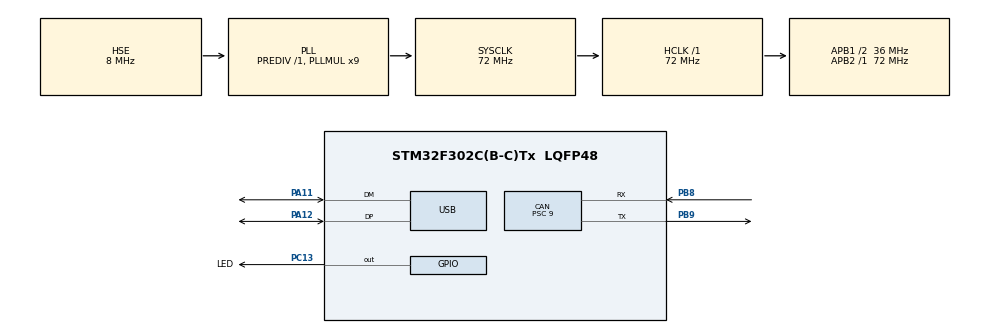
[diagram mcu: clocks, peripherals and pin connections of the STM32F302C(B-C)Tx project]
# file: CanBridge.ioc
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Mcu.Family=STM32F3
PC15-OSC32_OUT.Mode=LSE-External-Oscillator
USB_DEVICE.CLASS_NAME_FS=CDC
RCC.CortexFreq_Value=72000000
USB_DEVICE.VirtualModeFS=Cdc_FS
CAN.CalculateBaudRate=500000
PC13.Signal=GPIO_Output
NVIC.USB_LP_CAN_RX0_IRQn=true\:2\:0\:true\:false\:true\:true\:true
RCC.SYSCLKSourceVirtual=RCC_SYSCLKSOURCE_PLLCLK
PA11.Mode=Device
PC13.GPIO_Label=LED
RCC.APB1CLKDivider=RCC_HCLK_DIV2
PC14-OSC32_IN.Signal=RCC_OSC32_IN
CAN.CalculateTimeBit=2000.00
ProjectManager.StackSize=0x400
PA13.Signal=SYS_JTMS-SWDIO
PA12.Signal=USB_DP
CAN.BS2=CAN_BS2_2TQ
CAN.BS1=CAN_BS1_5TQ
CAN.Prescaler=9
ProjectManager.TargetToolchain=STM32CubeIDE
PC13.GPIO_ModeDefaultOutputPP=GPIO_MODE_OUTPUT_OD
RCC.HCLKFreq_Value=72000000
VP_USB_DEVICE_VS_USB_DEVICE_CDC_FS.Mode=CDC_FS
PB9.Mode=CAN_Activate
RCC.APB2TimFreq_Value=72000000
RCC.USBFreq_Value=48000000
PC15-OSC32_OUT.Signal=RCC_OSC32_OUT
RCC.AHBFreq_Value=72000000
PF0-OSC_IN.Mode=HSE-External-Oscillator
RCC.HSE_VALUE=8000000
board=custom
RCC.PLLMUL=RCC_PLL_MUL9
RCC.APB2Freq_Value=72000000
PC14-OSC32_IN.Mode=LSE-External-Oscillator
RCC.PRESCALERUSB=RCC_USBCLKSOURCE_PLL_DIV1_5
PA14.Mode=Serial_Wire
PA13.Mode=Serial_Wire
Mcu.Name=STM32F302C(B-C)Tx
CAN.CalculateTimeQuantum=250.0
RCC.SYSCLKFreq_VALUE=72000000
Mcu.Package=LQFP48
PB9.Signal=CAN_TX
PA12.Mode=Device
PA11.Signal=USB_DM
PA14.Signal=SYS_JTCK-SWCLK
ProjectManager.HeapSize=0x400
NVIC.USB_LP_IRQn=true\:0\:0\:false\:false\:true\:false\:true
RCC.HSI_VALUE=8000000
NVIC.PriorityGroup=NVIC_PRIORITYGROUP_2
PB8.Mode=CAN_Activate
RCC.APB1TimFreq_Value=72000000
PB8.Signal=CAN_RX
PF0-OSC_IN.Signal=RCC_OSC_IN
PF1-OSC_OUT.Mode=HSE-External-Oscillator
RCC.APB1Freq_Value=36000000
USB_DEVICE.VirtualMode=Cdc
PF1-OSC_OUT.Signal=RCC_OSC_OUT

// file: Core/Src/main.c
/* USER CODE BEGIN Header */
/**
  ******************************************************************************
  * @file           : main.c
  * @brief          : Main program body
  ******************************************************************************
  * @attention
  *
  * <h2><center>&copy; Copyright (c) 2021 STMicroelectronics.
  * All rights reserved.</center></h2>
  *
  * This software component is licensed by ST under Ultimate Liberty license
  * SLA0044, the "License"; You may not use this file except in compliance with
  * the License. You may obtain a copy of the License at:
  *                             www.st.com/SLA0044
  *
  ******************************************************************************
  */
/* USER CODE END Header */
#include "main.h"
#include "usb_device.h"

/* USER CODE BEGIN Includes */
#include "usbd_cdc_if.h"
#include "canbridge.h"
/* USER CODE END Includes */

/* USER CODE BEGIN PTD */

typedef struct
{
	CAN_RxHeaderTypeDef hdr;
	uint8_t payload[8];
} CAN_RxPacketTypeDef;

/// CAN过滤器寄存器位宽类型定义
typedef union
{
    __IO uint32_t value;
    struct
    {
        uint8_t REV : 1;			///< [0]    ：未使用
        uint8_t RTR : 1;			///< [1]    : RTR（数据帧或远程帧标志位）
        uint8_t IDE : 1;			///< [2]    : IDE（标准帧或扩展帧标志位）
        uint32_t EXID : 18;			///< [21:3] : 存放扩展帧ID
        uint16_t STID : 11;			///< [31:22]: 存放标准帧ID
    } Sub;
} CAN_FilterRegTypeDef;

/* USER CODE END PTD */

/* USER CODE BEGIN PD */
#define CAN_BASE_ID 0						///< CAN标准ID，最�??11位，也就�??0x7FF
#define CAN_FILTER_MODE_MASK_ENABLE 1		///< CAN过滤器模式�?�择�??=0：列表模�??  =1：屏蔽模�??
#define CAN_ID_TYPE_STD_ENABLE      1       ///< CAN过滤ID类型选择�??=1：标准ID�??=0：扩展ID
/* USER CODE END PD */

CAN_HandleTypeDef hcan;

void SystemClock_Config(void);
static void MX_GPIO_Init(void);
static void MX_CAN_Init(void);
/* USER CODE BEGIN PFP */
void CAN_Filter_Config(void);
uint8_t CAN_Transmit(CAN_TxPacketTypeDef* packet);
void HAL_CAN_RxFifo0MsgPendingCallback(CAN_HandleTypeDef *canHandle);

/* USER CODE END PFP */

int main(void)
{
  /* USER CODE BEGIN 1 */
  int i;
  char buf[1024];
  CanBridge_Pkt_Response pktResponse;
  CanBridge_Pkt_Packet pktPacket;
  CanBridge_Pkt_Config pktConfig;
  CanBridge_Pkt_Config_Response pktConfigRsp;
  CanBridge_Pkt_Get_Can pktGetCan;
  CanBridge_Pkt_Get_Can_Response pktGetCanRsp;
  CanBridge_Pkt_Send_Packet pktSendPacket;

  //for (i=0;i<100000;i++)  __NOP();

  /* USER CODE END 1 */

  /* MCU Configuration--------------------------------------------------------*/

  /* Reset of all peripherals, Initializes the Flash interface and the Systick. */
  HAL_Init();

  /* USER CODE BEGIN Init */
  //HAL_Delay(50);

  /* USER CODE END Init */

  /* Configure the system clock */
  SystemClock_Config();

  /* Initialize all configured peripherals */
  MX_GPIO_Init();
  MX_CAN_Init();
  MX_USB_DEVICE_Init();
  /* USER CODE BEGIN 2 */

  CAN_Filter_Config();
  HAL_CAN_Start(&hcan);
  HAL_CAN_ActivateNotification(&hcan, CAN_IT_RX_FIFO0_MSG_PENDING);					// 使能CAN接收中断

  pktPacket.can_idx = 0;
  pktPacket.header = CANBRIDGE_HEADER;
  pktPacket.pkt_type = CANBRIDGE_PKT_TYPE_PACKET;
  pktPacket.len = sizeof(pktPacket) - 3 ;
  pktPacket.hdr.StdId = 0x00;
  pktPacket.hdr.ExtId = 0x345;
  pktPacket.hdr.IDE = 1;
  pktPacket.hdr.RTR = 0;
  pktPacket.hdr.DLC = 8;
  pktPacket.hdr.FilterMatchIndex = 0;
  pktPacket.hdr.Timestamp = 0x234345;
  for (int i=0;i<8;i++) {
	  pktPacket.payload[i] = i;
  }
  CalcCRC16((unsigned char*)&pktPacket);

  /* USER CODE END 2 */

  /* Infinite loop */
  while (1)
  {

    /* USER CODE BEGIN 3 */
    HAL_Delay(100);
    HAL_GPIO_TogglePin(LED_GPIO_Port, LED_Pin);
    //sprintf(buf, "response=%d\tpacket=%d\tconfig=%d\tconfigresponse=%d\tgetcan=%d\tgetcanresponse=%d\tsendpacket=%d\r\nrx=%d\ttx=%d\r\n", sizeof(pktResponse), sizeof(pktPacket), sizeof(pktConfig), sizeof(pktConfigRsp), sizeof(pktGetCan), sizeof(pktGetCanRsp), sizeof(pktSendPacket), sizeof(CAN_RxHeaderTypeDef), sizeof(CAN_TxHeaderTypeDef));
    //CDC_Transmit_FS((uint8_t*)buf, strlen(buf));
//    for (i=0;i<20;i++) {
//      pktPacket.hdr.StdId++;
//      if (pktPacket.hdr.StdId>2047) pktPacket.hdr.StdId = 0;
//      CalcCRC16((unsigned char*)&pktPacket);
//      CDC_Transmit_FS((uint8_t*)&pktPacket, sizeof(pktPacket));
//      HAL_Delay(1);
//    }
  }
  /* USER CODE END 3 */
}

void SystemClock_Config(void)
{
  RCC_OscInitTypeDef RCC_OscInitStruct = {0};
  RCC_ClkInitTypeDef RCC_ClkInitStruct = {0};
  RCC_PeriphCLKInitTypeDef PeriphClkInit = {0};

  /** Initializes the RCC Oscillators according to the specified parameters
  * in the RCC_OscInitTypeDef structure.
  */
  RCC_OscInitStruct.OscillatorType = RCC_OSCILLATORTYPE_HSE;
  RCC_OscInitStruct.HSEState = RCC_HSE_ON;
  RCC_OscInitStruct.HSEPredivValue = RCC_HSE_PREDIV_DIV1;
  RCC_OscInitStruct.HSIState = RCC_HSI_ON;
  RCC_OscInitStruct.PLL.PLLState = RCC_PLL_ON;
  RCC_OscInitStruct.PLL.PLLSource = RCC_PLLSOURCE_HSE;
  RCC_OscInitStruct.PLL.PLLMUL = RCC_PLL_MUL9;
  if (HAL_RCC_OscConfig(&RCC_OscInitStruct) != HAL_OK)
  {
    Error_Handler();
  }
  /** Initializes the CPU, AHB and APB buses clocks
  */
  RCC_ClkInitStruct.ClockType = RCC_CLOCKTYPE_HCLK|RCC_CLOCKTYPE_SYSCLK
                              |RCC_CLOCKTYPE_PCLK1|RCC_CLOCKTYPE_PCLK2;
  RCC_ClkInitStruct.SYSCLKSource = RCC_SYSCLKSOURCE_PLLCLK;
  RCC_ClkInitStruct.AHBCLKDivider = RCC_SYSCLK_DIV1;
  RCC_ClkInitStruct.APB1CLKDivider = RCC_HCLK_DIV2;
  RCC_ClkInitStruct.APB2CLKDivider = RCC_HCLK_DIV1;

  if (HAL_RCC_ClockConfig(&RCC_ClkInitStruct, FLASH_LATENCY_2) != HAL_OK)
  {
    Error_Handler();
  }
  PeriphClkInit.PeriphClockSelection = RCC_PERIPHCLK_USB;
  PeriphClkInit.USBClockSelection = RCC_USBCLKSOURCE_PLL_DIV1_5;
  if (HAL_RCCEx_PeriphCLKConfig(&PeriphClkInit) != HAL_OK)
  {
    Error_Handler();
  }
}

static void MX_CAN_Init(void)
{

  hcan.Instance = CAN;
  hcan.Init.Prescaler = 9;
  hcan.Init.Mode = CAN_MODE_NORMAL;
  hcan.Init.SyncJumpWidth = CAN_SJW_1TQ;
  hcan.Init.TimeSeg1 = CAN_BS1_5TQ;
  hcan.Init.TimeSeg2 = CAN_BS2_2TQ;
  hcan.Init.TimeTriggeredMode = DISABLE;
  hcan.Init.AutoBusOff = DISABLE;
  hcan.Init.AutoWakeUp = DISABLE;
  hcan.Init.AutoRetransmission = DISABLE;
  hcan.Init.ReceiveFifoLocked = DISABLE;
  hcan.Init.TransmitFifoPriority = DISABLE;
  if (HAL_CAN_Init(&hcan) != HAL_OK)
  {
    Error_Handler();
  }

}

static void MX_GPIO_Init(void)
{
  GPIO_InitTypeDef GPIO_InitStruct = {0};

  /* GPIO Ports Clock Enable */
  __HAL_RCC_GPIOC_CLK_ENABLE();
  __HAL_RCC_GPIOF_CLK_ENABLE();
  __HAL_RCC_GPIOA_CLK_ENABLE();
  __HAL_RCC_GPIOB_CLK_ENABLE();

  /*Configure GPIO pin Output Level */
  HAL_GPIO_WritePin(LED_GPIO_Port, LED_Pin, GPIO_PIN_RESET);

  /*Configure GPIO pin : LED_Pin */
  GPIO_InitStruct.Pin = LED_Pin;
  GPIO_InitStruct.Mode = GPIO_MODE_OUTPUT_OD;
  GPIO_InitStruct.Pull = GPIO_NOPULL;
  GPIO_InitStruct.Speed = GPIO_SPEED_FREQ_LOW;
  HAL_GPIO_Init(LED_GPIO_Port, &GPIO_InitStruct);

}

/* USER CODE BEGIN 4 */
void CAN_Filter_Config(void)
{
    CAN_FilterTypeDef sFilterConfig;
    CAN_FilterRegTypeDef IDH = {0};
    CAN_FilterRegTypeDef IDL = {0};

#if CAN_ID_TYPE_STD_ENABLE
    IDH.Sub.STID = (CAN_BASE_ID >> 16) & 0xFFFF;		// 标准ID�??16�??
    IDL.Sub.STID = (CAN_BASE_ID & 0xFFFF);				// 标准ID�??16�??
#else
    IDH.Sub.EXID = (CAN_BASE_ID >> 16) & 0xFFFF;		// 扩展ID�??16�??
    IDL.Sub.EXID = (CAN_BASE_ID & 0xFFFF);				// 扩展ID�??16�??
    IDL.Sub.IDE  = 1;									// 扩展帧标志位置位
#endif
    sFilterConfig.FilterBank           = 0;												// 设置过滤器组编号
#if CAN_FILTER_MODE_MASK_ENABLE
    sFilterConfig.FilterMode           = CAN_FILTERMODE_IDMASK;							// 屏蔽位模�??
#else
    sFilterConfig.FilterMode           = CAN_FILTERMODE_IDLIST;							// 列表模式
#endif
    sFilterConfig.FilterScale          = CAN_FILTERSCALE_32BIT;							// 32位宽
//    sFilterConfig.FilterIdHigh         = IDH.value;										// 标识符寄存器�??ID高十六位，放入扩展帧�??
//    sFilterConfig.FilterIdLow          = IDL.value;										// 标识符寄存器�??ID低十六位，放入扩展帧�??
//    sFilterConfig.FilterMaskIdHigh     = IDH.value;										// 标识符寄存器二ID高十六位，放入扩展帧�??
//    sFilterConfig.FilterMaskIdLow      = IDL.value;										// 标识符寄存器二ID低十六位，放入扩展帧�??
    sFilterConfig.FilterIdHigh         = 0x0000;										// 标识符寄存器�??ID高十六位，放入扩展帧�??
    sFilterConfig.FilterIdLow          = 0x0000;										// 标识符寄存器�??ID低十六位，放入扩展帧�??
    sFilterConfig.FilterMaskIdHigh     = 0x0000;										// 标识符寄存器二ID高十六位，放入扩展帧�??
    sFilterConfig.FilterMaskIdLow      = 0x0000;										// 标识符寄存器二ID低十六位，放入扩展帧�??
    sFilterConfig.FilterFIFOAssignment = CAN_RX_FIFO0;									// 过滤器组关联到FIFO0
    sFilterConfig.FilterActivation     = ENABLE;										// �??活过滤器
    sFilterConfig.SlaveStartFilterBank = 14;											// 设置从CAN的起始过滤器编号，本单片机只有一个CAN，顾此参数无�??
    if (HAL_CAN_ConfigFilter(&hcan, &sFilterConfig) != HAL_OK)
    {
        Error_Handler();
    }
}

uint8_t CAN_Transmit(CAN_TxPacketTypeDef * packet)
{
	if(HAL_CAN_AddTxMessage(&hcan, &packet->hdr, packet->payload, &packet->mailbox) != HAL_OK)
		return 1;
	return 0;
}

//void CAN_Init(void)
//{
//    MX_CAN_Init();
//    CAN_Filter_Config();
//    HAL_CAN_Start(&hcan);
//    HAL_CAN_ActivateNotification(&hcan, CAN_IT_RX_FIFO0_MSG_PENDING);					// 使能CAN接收中断
//}

void HAL_CAN_RxFifo0MsgPendingCallback(CAN_HandleTypeDef *canHandle)
{
	static CAN_RxPacketTypeDef packet;
	CanBridge_Pkt_Packet pktPacket;

    // CAN数据接收
    if (canHandle->Instance == hcan.Instance)
    {
        if (HAL_CAN_GetRxMessage(canHandle, CAN_RX_FIFO0, &packet.hdr, packet.payload) == HAL_OK)		// 获得接收到的数据头和数据
        {
//			printf("\r\n\r\n\r\n################### CAN RECV ###################\r\n");
//			printf("STID:0x%X\r\n",packet.hdr.StdId);
//			printf("EXID:0x%X\r\n",packet.hdr.ExtId);
//			printf("DLC :%d\r\n", packet.hdr.DLC);
//			printf("DATA:");
//			for(int i = 0; i < packet.hdr.DLC; i++)
//			{
//				printf("0x%02X ", packet.payload[i]);
//			}

            pktPacket.header = CANBRIDGE_HEADER;
            pktPacket.len = sizeof(pktPacket) - 3 ;
            pktPacket.pkt_type = CANBRIDGE_PKT_TYPE_PACKET;
            pktPacket.can_idx = 0;
            memcpy(&pktPacket.hdr, &packet.hdr, sizeof(packet.hdr));
            memcpy(pktPacket.payload, packet.payload, 8);
            CalcCRC16((unsigned char*)&pktPacket);
            CDC_Transmit_FS((uint8_t*)&pktPacket, sizeof(pktPacket));

        	HAL_CAN_ActivateNotification(canHandle, CAN_IT_RX_FIFO0_MSG_PENDING);						// 再次使能FIFO0接收中断
        }
    }
}

/* USER CODE END 4 */

void Error_Handler(void)
{
  __disable_irq();
  while (1)
  {
  }
}

/************************ (C) COPYRIGHT STMicroelectronics *****END OF FILE****/
